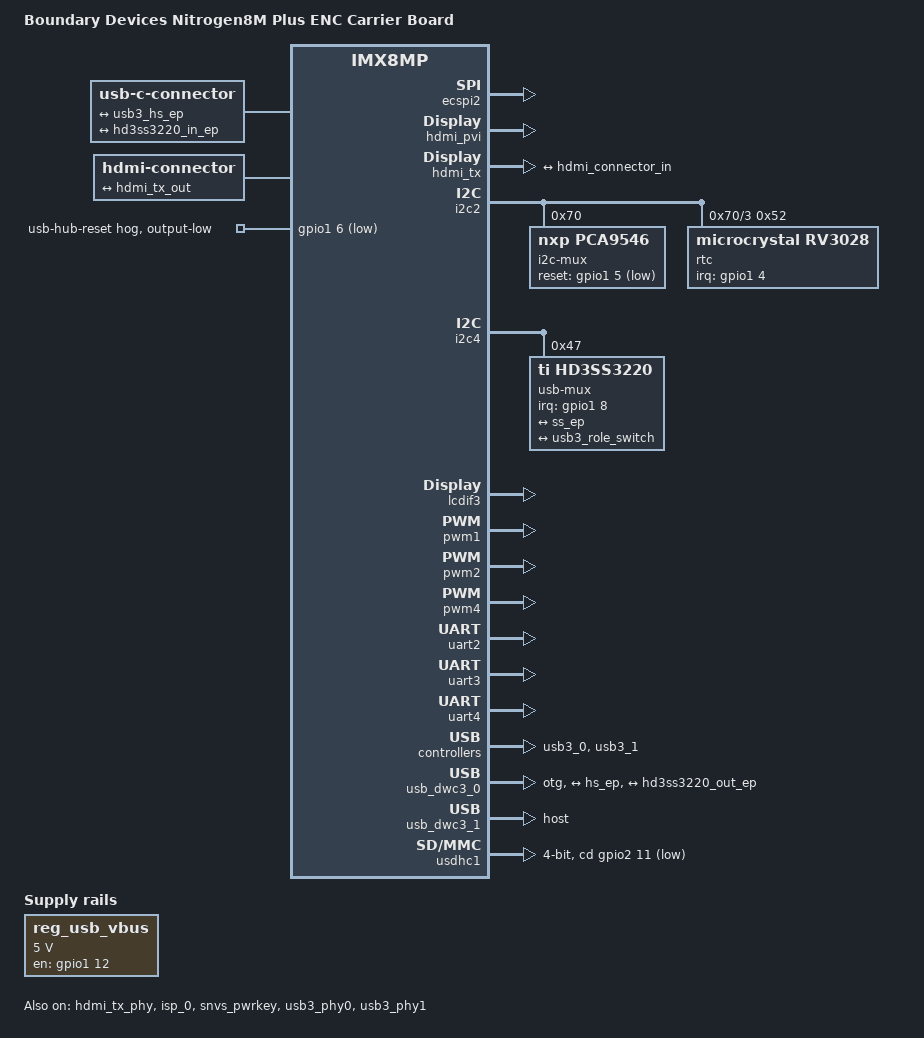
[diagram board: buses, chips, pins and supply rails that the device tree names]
// SPDX-License-Identifier: (GPL-2.0+ OR MIT)
/*
 * Copyright 2020 Boundary Devices
 * Copyright 2025 Collabora Ltd.
 */

/dts-v1/;

#include "imx8mp-nitrogen-som.dtsi"

/ {
	model = "Boundary Devices Nitrogen8M Plus ENC Carrier Board";
	compatible = "boundary,imx8mp-nitrogen-enc-carrier-board",
			"boundary,imx8mp-nitrogen-som", "fsl,imx8mp";

	chosen {
		stdout-path = &uart2;
	};

	connector {
		compatible = "usb-c-connector";
		data-role = "dual";
		label = "USB-C";

		ports {
			#address-cells = <1>;
			#size-cells = <0>;

			port@0 {
				reg = <0>;

				hs_ep: endpoint {
					remote-endpoint = <&usb3_hs_ep>;
				};
			};

			port@1 {
				reg = <1>;

				ss_ep: endpoint {
					remote-endpoint = <&hd3ss3220_in_ep>;
				};
			};
		};
	};

	hdmi-connector {
		compatible = "hdmi-connector";
		label = "hdmi";
		type = "a";

		port {
			hdmi_connector_in: endpoint {
				remote-endpoint = <&hdmi_tx_out>;
			};
		};
	};

	reg_usb_vbus: regulator {
		compatible = "regulator-fixed";
		enable-active-high;
		gpio = <&gpio1 12 GPIO_ACTIVE_HIGH>;
		pinctrl-names = "default";
		pinctrl-0 = <&pinctrl_reg_usb_vbus>;
		regulator-name = "usb_vbus";
		regulator-min-microvolt = <5000000>;
		regulator-max-microvolt = <5000000>;
	};
};

&ecspi2 {
	cs-gpios = <&gpio5 13 GPIO_ACTIVE_LOW>;
	pinctrl-0 = <&pinctrl_ecspi2>;
	pinctrl-names = "default";
	status = "okay";
};

&gpio1 {
	usb-hub-reset-hog {
		gpio-hog;
		gpios = <6 GPIO_ACTIVE_LOW>;
		line-name = "usb-hub-reset";
		output-low;
	};
};

&hdmi_pvi {
	status = "okay";
};

&hdmi_tx {
	pinctrl-0 = <&pinctrl_hdmi>;
	pinctrl-names = "default";
	status = "okay";

	ports {
		port@1 {
			hdmi_tx_out: endpoint {
				remote-endpoint = <&hdmi_connector_in>;
			};
		};
	};
};

&hdmi_tx_phy {
	status = "okay";
};

&i2c2 {
	i2c-mux@70 {
		compatible = "nxp,pca9546";
		reg = <0x70>;
		#address-cells = <1>;
		#size-cells = <0>;
		pinctrl-0 = <&pinctrl_i2c2_pca9546>;
		pinctrl-names = "default";
		reset-gpios = <&gpio1 5 GPIO_ACTIVE_LOW>;

		i2c@0 {
			reg = <0>;
			#address-cells = <1>;
			#size-cells = <0>;
			clock-frequency = <100000>;
		};

		i2c@1 {
			reg = <1>;
			#address-cells = <1>;
			#size-cells = <0>;
			clock-frequency = <100000>;
		};

		i2c@2 {
			reg = <2>;
			#address-cells = <1>;
			#size-cells = <0>;
			clock-frequency = <100000>;
		};

		i2c@3 {
			reg = <3>;
			#address-cells = <1>;
			#size-cells = <0>;
			clock-frequency = <100000>;

			rtc@52 {
				compatible = "microcrystal,rv3028";
				reg = <0x52>;
				interrupts-extended = <&gpio1 4 IRQ_TYPE_LEVEL_LOW>;
				pinctrl-names = "default";
				pinctrl-0 = <&pinctrl_rv3028>;
				wakeup-source;
			};
		};
	};
};

&i2c4 {
	usb-mux@47 {
		compatible = "ti,hd3ss3220";
		reg = <0x47>;
		interrupts-extended = <&gpio1 8 IRQ_TYPE_LEVEL_LOW>;
		pinctrl-names = "default";
		pinctrl-0 = <&pinctrl_i2c4_hd3ss3220>;

		ports {
			#address-cells = <1>;
			#size-cells = <0>;

			port@0 {
				reg = <0>;

				hd3ss3220_in_ep: endpoint {
					remote-endpoint = <&ss_ep>;
				};
			};

			port@1 {
				reg = <1>;

				hd3ss3220_out_ep: endpoint {
					remote-endpoint = <&usb3_role_switch>;
				};
			};
		};
	};
};

&isp_0 {
	status = "okay";
};

&lcdif3 {
	status = "okay";
};

&pwm1 {
	pinctrl-names = "default";
	pinctrl-0 = <&pinctrl_pwm1>;
	status = "okay";
};

&pwm2 {
	pinctrl-names = "default";
	pinctrl-0 = <&pinctrl_pwm2>;
	status = "okay";
};

&pwm4 {
	pinctrl-names = "default";
	pinctrl-0 = <&pinctrl_pwm4>;
	status = "okay";
};

&snvs_pwrkey {
	status = "okay";
};

&uart2 {
	pinctrl-names = "default";
	pinctrl-0 = <&pinctrl_uart2>;
	status = "okay";
};

&uart3 {
	assigned-clocks = <&clk IMX8MP_CLK_UART3>;
	assigned-clock-parents = <&clk IMX8MP_SYS_PLL1_80M>;
	pinctrl-names = "default";
	pinctrl-0 = <&pinctrl_uart3>;
	status = "okay";
};

&uart4 {
	assigned-clocks = <&clk IMX8MP_CLK_UART4>;
	assigned-clock-parents = <&clk IMX8MP_SYS_PLL1_80M>;
	pinctrl-names = "default";
	pinctrl-0 = <&pinctrl_uart4>;
	status = "okay";
};

&usb3_0 {
	fsl,over-current-active-low;
	status = "okay";
};

&usb3_1 {
	status = "okay";
};

&usb3_phy0 {
	vbus-supply = <&reg_usb_vbus>;
	status = "okay";
};

&usb3_phy1 {
	vbus-supply = <&reg_usb_vbus>;
	status = "okay";
};

&usb_dwc3_0 {
	dr_mode = "otg";
	pinctrl-names = "default";
	pinctrl-0 = <&pinctrl_usb3_0>;
	usb-role-switch;
	status = "okay";

	ports {
		#address-cells = <1>;
		#size-cells = <0>;

		port@0 {
			reg = <0>;

			usb3_hs_ep: endpoint {
				remote-endpoint = <&hs_ep>;
			};
		};

		port@1 {
			reg = <1>;

			usb3_role_switch: endpoint {
				remote-endpoint = <&hd3ss3220_out_ep>;
			};
		};
	};
};

&usb_dwc3_1 {
	dr_mode = "host";
	status = "okay";
};

&usdhc1 {
	bus-width = <4>;
	cd-gpios = <&gpio2 11 GPIO_ACTIVE_LOW>;
	pinctrl-names = "default", "state_100mhz", "state_200mhz";
	pinctrl-0 = <&pinctrl_usdhc1>, <&pinctrl_usdhc1_gpio>;
	pinctrl-1 = <&pinctrl_usdhc1_100mhz>, <&pinctrl_usdhc1_gpio>;
	pinctrl-2 = <&pinctrl_usdhc1_200mhz>, <&pinctrl_usdhc1_gpio>;
	status = "okay";
};

&iomuxc {
	pinctrl-names = "default";
	pinctrl-0 = <&pinctrl_hog>;

	pinctrl_ecspi2: ecspi2grp {
		fsl,pins = <
			MX8MP_IOMUXC_ECSPI2_MISO__ECSPI2_MISO		0x82
			MX8MP_IOMUXC_ECSPI2_MOSI__ECSPI2_MOSI		0x82
			MX8MP_IOMUXC_ECSPI2_SCLK__ECSPI2_SCLK		0x82
			MX8MP_IOMUXC_ECSPI2_SS0__GPIO5_IO13		0x143
		>;
	};

	pinctrl_hdmi: hdmigrp {
		fsl,pins = <
			MX8MP_IOMUXC_HDMI_CEC__HDMIMIX_HDMI_CEC		0x40000019
			MX8MP_IOMUXC_HDMI_DDC_SCL__HDMIMIX_HDMI_SCL	0x400001c3
			MX8MP_IOMUXC_HDMI_DDC_SDA__HDMIMIX_HDMI_SDA	0x400001c3
			MX8MP_IOMUXC_HDMI_HPD__HDMIMIX_HDMI_HPD		0x40000019
		>;
	};

	pinctrl_hog: hoggrp {
		fsl,pins = <
			MX8MP_IOMUXC_GPIO1_IO06__GPIO1_IO06		0x100
			MX8MP_IOMUXC_NAND_DATA01__GPIO3_IO07		0x119
			MX8MP_IOMUXC_SAI1_MCLK__GPIO4_IO20		0x16
			MX8MP_IOMUXC_SAI1_TXD7__GPIO4_IO19		0x1c4
			MX8MP_IOMUXC_SD1_DATA4__GPIO2_IO06		0x41
			MX8MP_IOMUXC_SD1_DATA5__GPIO2_IO07		0x41
			MX8MP_IOMUXC_SD1_DATA6__GPIO2_IO08		0x41
			MX8MP_IOMUXC_SD1_RESET_B__GPIO2_IO10		0x41
			MX8MP_IOMUXC_SPDIF_EXT_CLK__GPIO5_IO05		0x41
			MX8MP_IOMUXC_SPDIF_RX__GPIO5_IO04		0x41
			MX8MP_IOMUXC_SPDIF_TX__GPIO5_IO03		0x41
		>;
	};

	pinctrl_i2c2_pca9546: i2c2-pca9546grp {
		fsl,pins = <
			MX8MP_IOMUXC_GPIO1_IO05__GPIO1_IO05		0x100
		>;
	};

	pinctrl_i2c4_hd3ss3220: i2c4-hd3ss3220grp {
		fsl,pins = <
			MX8MP_IOMUXC_GPIO1_IO08__GPIO1_IO08		0x16
			MX8MP_IOMUXC_SAI1_RXD0__GPIO4_IO02		0x03
		>;
	};

	pinctrl_pwm1: pwm1grp {
		fsl,pins = <
			MX8MP_IOMUXC_GPIO1_IO01__PWM1_OUT		0x100
		>;
	};

	pinctrl_pwm2: pwm2grp {
		fsl,pins = <
			MX8MP_IOMUXC_GPIO1_IO09__PWM2_OUT		0xd6
			MX8MP_IOMUXC_SAI5_RXD0__PWM2_OUT		0xd6
		>;
	};

	pinctrl_pwm4: pwm4grp {
		fsl,pins = <
		MX8MP_IOMUXC_SAI5_RXFS__PWM4_OUT			0x116
		>;
	};

	pinctrl_reg_usb_vbus: reg-usb-vbusgrp {
		fsl,pins = <
			MX8MP_IOMUXC_GPIO1_IO12__GPIO1_IO12		0x100
		>;
	};

	pinctrl_rv3028: rv3028grp {
		fsl,pins = <
			MX8MP_IOMUXC_GPIO1_IO04__GPIO1_IO04		0x1c0
		>;
	};

	pinctrl_uart2: uart2grp {
		fsl,pins = <
			MX8MP_IOMUXC_UART2_RXD__UART2_DCE_RX		0x140
			MX8MP_IOMUXC_UART2_TXD__UART2_DCE_TX		0x140
		>;
	};

	pinctrl_uart3: uart3grp {
		fsl,pins = <
			MX8MP_IOMUXC_ECSPI1_MOSI__UART3_DCE_TX		0x140
			MX8MP_IOMUXC_ECSPI1_SCLK__UART3_DCE_RX		0x140
		>;
	};

	pinctrl_uart4: uart4grp {
		fsl,pins = <
			MX8MP_IOMUXC_UART4_RXD__UART4_DCE_RX		0x140
			MX8MP_IOMUXC_UART4_TXD__UART4_DCE_TX		0x140
		>;
	};

	pinctrl_usb3_0: usb3-0grp {
		fsl,pins = <
			MX8MP_IOMUXC_GPIO1_IO13__USB1_OTG_OC		0x1c0
		>;
	};

	pinctrl_usdhc1: usdhc1grp {
		fsl,pins = <
			MX8MP_IOMUXC_GPIO1_IO03__USDHC1_VSELECT		0x116
			MX8MP_IOMUXC_SD1_CLK__USDHC1_CLK		0x190
			MX8MP_IOMUXC_SD1_CMD__USDHC1_CMD		0x1d0
			MX8MP_IOMUXC_SD1_DATA0__USDHC1_DATA0		0x1d0
			MX8MP_IOMUXC_SD1_DATA1__USDHC1_DATA1		0x1d0
			MX8MP_IOMUXC_SD1_DATA2__USDHC1_DATA2		0x1d0
			MX8MP_IOMUXC_SD1_DATA3__USDHC1_DATA3		0x1d0
		>;
	};

	pinctrl_usdhc1_100mhz: usdhc1-100mhzgrp {
		fsl,pins = <
			MX8MP_IOMUXC_SD1_CLK__USDHC1_CLK		0x194
			MX8MP_IOMUXC_SD1_CMD__USDHC1_CMD		0x1d4
			MX8MP_IOMUXC_SD1_DATA0__USDHC1_DATA0		0x1d4
			MX8MP_IOMUXC_SD1_DATA1__USDHC1_DATA1		0x1d4
			MX8MP_IOMUXC_SD1_DATA2__USDHC1_DATA2		0x1d4
			MX8MP_IOMUXC_SD1_DATA3__USDHC1_DATA3		0x1d4
		>;
	};

	pinctrl_usdhc1_200mhz: usdhc1-200mhzgrp {
		fsl,pins = <
			MX8MP_IOMUXC_SD1_CLK__USDHC1_CLK		0x196
			MX8MP_IOMUXC_SD1_CMD__USDHC1_CMD		0x1d6
			MX8MP_IOMUXC_SD1_DATA0__USDHC1_DATA0		0x1d6
			MX8MP_IOMUXC_SD1_DATA1__USDHC1_DATA1		0x1d6
			MX8MP_IOMUXC_SD1_DATA2__USDHC1_DATA2		0x1d6
			MX8MP_IOMUXC_SD1_DATA3__USDHC1_DATA3		0x1d6
		>;
	};

	pinctrl_usdhc1_gpio: usdhc1-gpiogrp {
		fsl,pins = <
			MX8MP_IOMUXC_SD1_STROBE__GPIO2_IO11		0x1c4
		>;
	};
};
